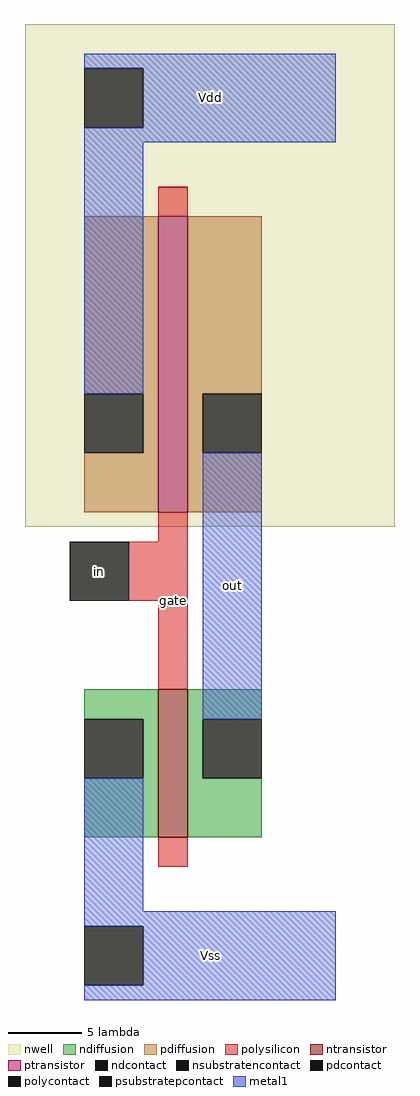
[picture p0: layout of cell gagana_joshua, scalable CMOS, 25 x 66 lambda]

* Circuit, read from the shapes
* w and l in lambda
.subckt gagana_joshua Vdd Vss in out
M1 out in Vss Vss nfet w=10 l=2
M2 out in Vdd Vdd pfet w=20 l=2
.ends

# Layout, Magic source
magic
tech scmos
<< nwell >>
rect -3 5 22 39
<< polysilicon >>
rect 6 26 8 28
rect 6 4 8 6
rect 4 0 8 4
rect 6 -6 8 0
rect 6 -18 8 -16
<< ndiffusion >>
rect 1 -8 6 -6
rect 5 -12 6 -8
rect 1 -16 6 -12
rect 8 -8 13 -6
rect 8 -12 9 -8
rect 8 -16 13 -12
<< pdiffusion >>
rect 1 14 6 26
rect 5 10 6 14
rect 1 6 6 10
rect 8 14 13 26
rect 8 10 9 14
rect 8 6 13 10
<< metal1 >>
rect 1 36 18 37
rect 5 32 18 36
rect 1 31 18 32
rect 1 14 5 31
rect 9 -8 13 10
rect 1 -21 5 -12
rect 1 -22 18 -21
rect 5 -26 18 -22
rect 1 -27 18 -26
<< ntransistor >>
rect 6 -16 8 -6
<< ptransistor >>
rect 6 6 8 26
<< polycontact >>
rect 0 0 4 4
<< ndcontact >>
rect 1 -12 5 -8
rect 9 -12 13 -8
<< pdcontact >>
rect 1 10 5 14
rect 9 10 13 14
<< psubstratepcontact >>
rect 1 -26 5 -22
<< nsubstratencontact >>
rect 1 32 5 36
<< labels >>
rlabel space 6 -18 8 18 3 gate
rlabel metal1 9 -12 13 14 3 out
rlabel polycontact 0 0 4 4 7 in
rlabel nwell 1 31 18 37 3 Vdd
rlabel metal1 1 -27 18 -21 3 Vss
<< end >>
